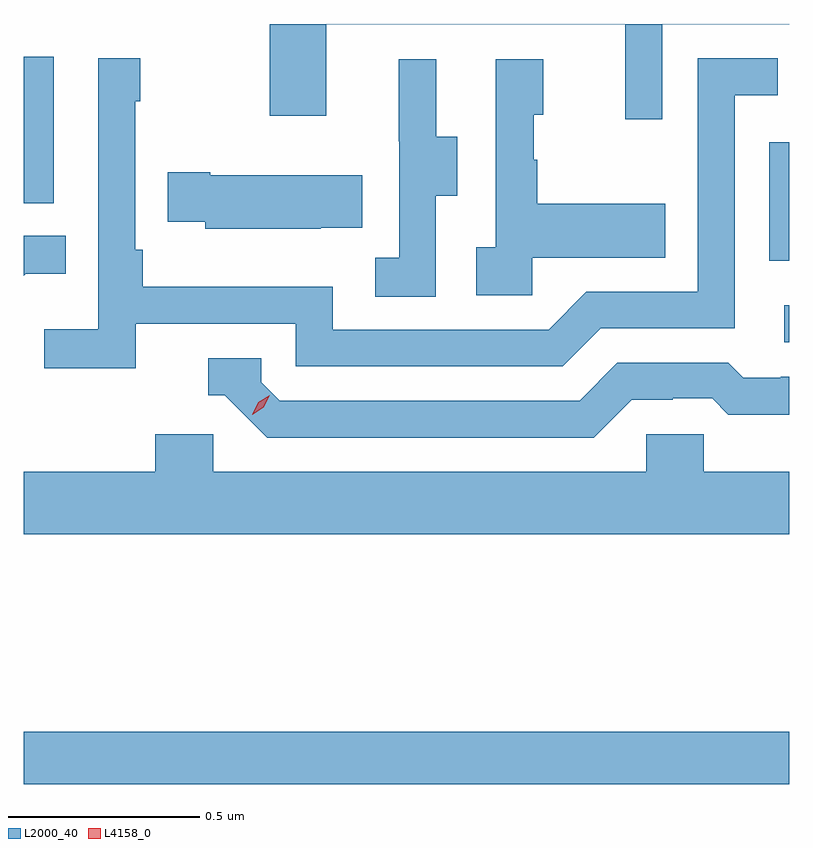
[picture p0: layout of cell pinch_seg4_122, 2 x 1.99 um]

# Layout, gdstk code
import gdstk
lib = gdstk.Library(unit=1e-6, precision=1e-09)
def R(c, l, rs):  # rectangles x0, y0, x1, y1
    for r in rs: c.add(gdstk.rectangle(r[:2], r[2:], *l))
def P(c, l, *ps):  # polygons
    for p in ps: c.add(gdstk.Polygon(p, *l))
L2000_40 = (2000, 40)
L4158_0 = (4158, 0)

pinch_seg4_122 = lib.new_cell('pinch_seg4_122')
R(pinch_seg4_122, L2000_40, [(1070.721,798.832,1072.721,798.968), (1072.707,799.986,1072.721,800.082), (1072.668,800.199,1072.721,800.508), (1070.721,800.349,1070.8,800.731)])
P(pinch_seg4_122, L2000_40, [(1072.389,800.816),(1072.721,800.816),(1072.721,800.817),(1070.721,800.817),(1070.721,800.816),(1071.364,800.816),(1071.364,800.577),(1071.511,800.577),(1071.511,800.816),(1072.292,800.816),(1072.292,800.568),(1072.389,800.568)],
  [(1071.014,800.034),(1071.432,800.034),(1071.432,799.923),(1072.129,799.923),(1072.228,800.022),(1072.578,800.022),(1072.578,800.631),(1072.691,800.631),(1072.691,800.727),(1072.482,800.727),(1072.482,800.118),(1072.191,800.118),(1072.092,800.019),(1071.528,800.019),(1071.528,800.131),(1071.032,800.131),(1071.032,800.227),(1071.012,800.227),(1071.012,800.615),(1071.025,800.615),(1071.025,800.728),(1070.916,800.728),(1070.916,800.02),(1070.775,800.02),(1070.775,799.918),(1071.014,799.918)],
  [(1072.05,800.207),(1072.397,800.207),(1072.397,800.347),(1072.063,800.347),(1072.063,800.462),(1072.053,800.462),(1072.053,800.58),(1072.078,800.58),(1072.078,800.725),(1071.954,800.725),(1071.954,800.234),(1071.903,800.234),(1071.903,800.109),(1072.05,800.109)],
  [(1071.798,800.368),(1071.853,800.368),(1071.853,800.523),(1071.799,800.523),(1071.799,800.725),(1071.701,800.725),(1071.701,800.511),(1071.702,800.511),(1071.702,800.207),(1071.639,800.207),(1071.639,800.104),(1071.798,800.104)],
  [(1071.497,800.285),(1071.605,800.285),(1071.605,800.422),(1071.208,800.422),(1071.208,800.43),(1071.097,800.43),(1071.097,800.3),(1071.195,800.3),(1071.195,800.282),(1071.497,800.282)],
  [(1070.727,800.165),(1070.831,800.165),(1070.831,800.264),(1070.721,800.264),(1070.721,800.159)],
  [(1072.309,799.836),(1072.416,799.836),(1072.416,799.839),(1072.519,799.839),(1072.561,799.797),(1072.721,799.797),(1072.721,799.896),(1072.699,799.896),(1072.699,799.893),(1072.6,799.893),(1072.561,799.932),(1072.272,799.932),(1072.173,799.833),(1071.39,799.833),(1071.342,799.881),(1071.342,799.944),(1071.203,799.944),(1071.203,799.848),(1071.246,799.848),(1071.357,799.737),(1072.21,799.737)],
  [(1072.721,799.648),(1072.497,799.648),(1072.497,799.746),(1072.347,799.746),(1072.347,799.648),(1071.216,799.648),(1071.216,799.746),(1071.065,799.746),(1071.065,799.648),(1070.721,799.648),(1070.721,799.484),(1072.721,799.484)])
P(pinch_seg4_122, L4158_0, [(1071.318,799.796),(1071.318,799.796),(1071.334,799.829),(1071.364,799.848),(1071.364,799.848),(1071.364,799.848),(1071.348,799.816),(1071.318,799.796)])

lib.write_gds('pinch_seg4_122.gds')
